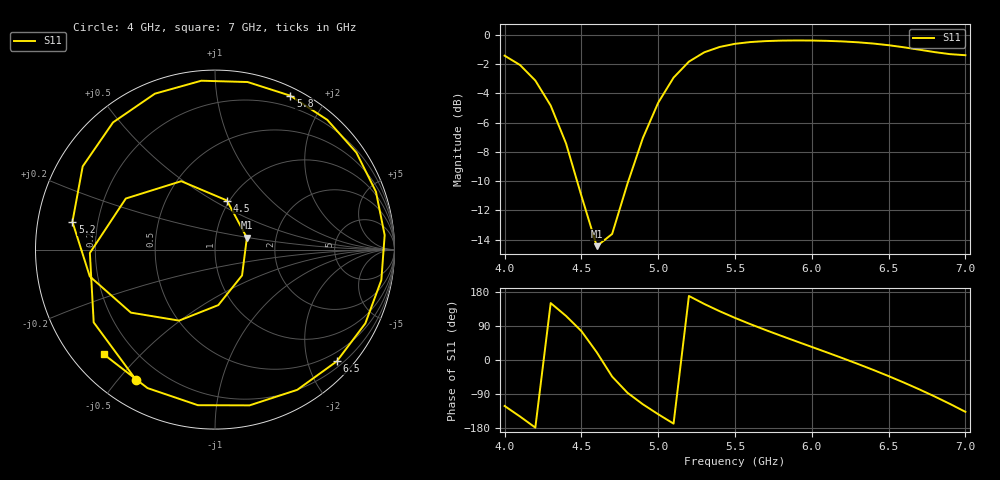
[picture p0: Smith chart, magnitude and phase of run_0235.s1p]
! Touchstone file exported from HFSS 2024.2.0
!  File:  C:/Users/wsak9/Desktop/Sim Fast/Widenad Patch/WP_AI_V1_sweep.aedt
!  Generated:  12:50:09 AM Oct 14, 2026
!  Design:  A1_model
!  Project:  WP_AI_V1_sweep
!  Setup:  Setup1
!  Solution:  Sweep
! Variables:
!  Air_gap = 3.89mm
!  Curve_Amp1 = 1.7
!  Curve_len1 = 1
!  Curve_pos = 12.94mm
!  Extra = 6.09mm
!  H_sub = 0.79mm
!  L_Patch = 21.88mm
!  L_Patch1 = 19.79mm
!  Sx = 4.78mm
!  Sy = 4.38mm
!  WS = 1.23mm
!  W_Patch = 13.58mm
!  W_Patch1 = 13.7mm
!Data is not renormalized
# GHz S MA
! Terminal data exported
! Port[1] = 1
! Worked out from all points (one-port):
!   31 points, 4 GHz to 7 GHz, reference per port
!   lowest |S11| = -14.5 dB at 4.6 GHz (marker M1), VSWR 1.47
!   |S11| at or under -10 dB: 4.472 GHz to 4.806 GHz (333.9 MHz wide, 7.2 % of centre)
!   S11 on the Smith chart (normalised r, x): 4 GHz: 0.11, -0.56; 4.5 GHz: 0.97, +0.58; 5.2 GHz: 0.11, +0.10; 5.8 GHz: 0.08, +1.60; 6.5 GHz: 0.31, -2.54; 7 GHz: 0.09, -0.39
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4  0.8481 -121.3
4.1  0.7883 -149.0
4.2  0.6973 -178.5
4.3  0.5726 150.2
4.4  0.425 116.3
4.5  0.2815 76.3
4.6  0.1894 20.3
4.7  0.2084 -43.7
4.8  0.3098 -86.6
4.9  0.4433 -116.8
5  0.5857 -143.2
5.1  0.7134 -167.9
5.2  0.8092 169.0
5.3  0.8708 147.8
5.4  0.9083 128.7
5.5  0.931 111.1
5.6  0.944 94.6
5.8  0.9547 63.9
5.9  0.9559 49.1
6.1  0.9529 19.8
6.3  0.9422 -10.4
6.4  0.933 -26.1
6.5  0.9208 -42.5
6.6  0.9058 -59.6
6.7  0.8889 -77.5
6.8  0.8721 -96.3
6.9  0.8583 -116.0
7  0.8511 -136.8
